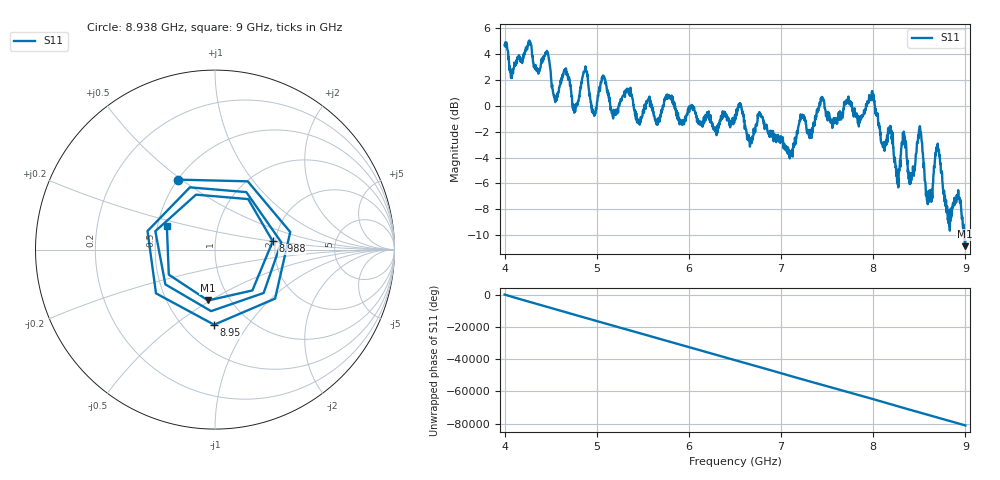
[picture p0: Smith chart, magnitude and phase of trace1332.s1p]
! Created with skrf 1.8.0 (http://scikit-rf.org).
# Hz S RI R 50.0
!freq ReS11 ImS11
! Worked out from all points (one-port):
!   1601 points, 4 GHz to 9 GHz, reference 50 ohm
!   lowest |S11| = -10.9 dB at 8.994 GHz (marker M1), VSWR 1.80, Z = 39.6 - j24.4 ohm
!   |S11| at or under -10 dB: 8.989579 GHz to end of sweep
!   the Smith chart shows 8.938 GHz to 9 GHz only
!   S11 on the Smith chart (normalised r, x): 8.938 GHz: 0.50, +0.49; 8.95 GHz: 0.70, -0.71; 8.988 GHz: 1.94, +0.20; 9 GHz: 0.56, +0.16
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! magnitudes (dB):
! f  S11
! 4 GHz  4.7
! 4.078 GHz  2.2
! 4.459 GHz  4.3
! 4.55 GHz  0.3
! 4.625 GHz  2.2
! 4.759 GHz  -0.2
! 4.875 GHz  2.8
! 4.966 GHz  -0.6
! 5.066 GHz  2.1
! 5.25 GHz  0.2
! 5.875 GHz  -0.8
! 6.5 GHz  -0.7
! 7.125 GHz  -3.9
! 7.441 GHz  0.7
! 7.75 GHz  0.4
! 7.988 GHz  1.2
! 8.259 GHz  -5.9
! 8.331 GHz  -2.0
! 8.375 GHz  -5.1
! 8.506 GHz  -1.6
! 8.597 GHz  -6.6
! 8.697 GHz  -3.0
! 8.812 GHz  -8.7
! 8.938 GHz  -7.1
! 8.95 GHz  -7.6
! 8.988 GHz  -9.8
! 8.994 GHz  -10.9
! 9 GHz  -10.5
